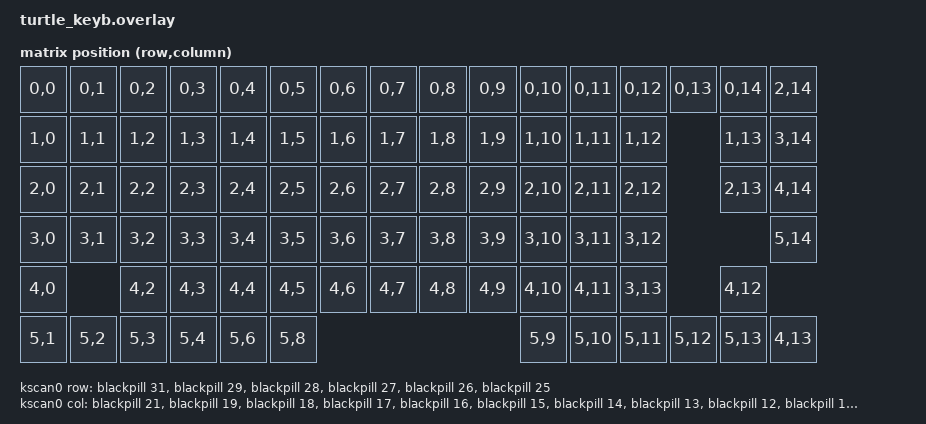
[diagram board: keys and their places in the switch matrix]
#include <dt-bindings/zmk/matrix_transform.h>
/ {
  chosen {
    zmk,kscan = &kscan0;
    zmk,matrix-transform = &default_transform;
  };

  kscan0: kscan_0 {
    compatible = "zmk,kscan-gpio-matrix";
    diode-direction = "col2row";
    wakeup-source;

    col-gpios
      = <&blackpill 21 GPIO_ACTIVE_HIGH>
      , <&blackpill 19 GPIO_ACTIVE_HIGH>
      , <&blackpill 18 GPIO_ACTIVE_HIGH>
      , <&blackpill 17 GPIO_ACTIVE_HIGH>
      , <&blackpill 16 GPIO_ACTIVE_HIGH>
      , <&blackpill 15 GPIO_ACTIVE_HIGH>
      , <&blackpill 14 GPIO_ACTIVE_HIGH>
      , <&blackpill 13 GPIO_ACTIVE_HIGH>
      , <&blackpill 12 GPIO_ACTIVE_HIGH>
      , <&blackpill 11 GPIO_ACTIVE_HIGH>
      , <&blackpill 10 GPIO_ACTIVE_HIGH>
      , <&blackpill 41 GPIO_ACTIVE_HIGH>
      , <&blackpill 4 GPIO_ACTIVE_HIGH>
      , <&blackpill 3 GPIO_ACTIVE_HIGH>
      , <&blackpill 2 GPIO_ACTIVE_HIGH>
      ;

    row-gpios
      = <&blackpill 31 (GPIO_ACTIVE_HIGH | GPIO_PULL_DOWN)>
      , <&blackpill 29 (GPIO_ACTIVE_HIGH | GPIO_PULL_DOWN)>
      , <&blackpill 28 (GPIO_ACTIVE_HIGH | GPIO_PULL_DOWN)>
      , <&blackpill 27 (GPIO_ACTIVE_HIGH | GPIO_PULL_DOWN)>
      , <&blackpill 26 (GPIO_ACTIVE_HIGH | GPIO_PULL_DOWN)>
      , <&blackpill 25 (GPIO_ACTIVE_HIGH | GPIO_PULL_DOWN)>
      ;
  };

  default_transform: keymap_transform_0 {
      compatible = "zmk,matrix-transform";
      columns = <15>;
      rows = <6>;
      map = <
        RC(0, 0) RC(0, 1) RC(0, 2) RC(0, 3) RC(0, 4) RC(0, 5) RC(0, 6) RC(0, 7) RC(0, 8) RC(0, 9) RC(0, 10) RC(0, 11) RC(0, 12) RC(0, 13) RC(0, 14)   RC(2, 14)
        RC(1, 0) RC(1, 1) RC(1, 2) RC(1, 3) RC(1, 4) RC(1, 5) RC(1, 6) RC(1, 7) RC(1, 8) RC(1, 9) RC(1, 10) RC(1, 11) RC(1, 12)       RC(1, 13)       RC(3, 14)
        RC(2, 0) RC(2, 1) RC(2, 2) RC(2, 3) RC(2, 4) RC(2, 5) RC(2, 6) RC(2, 7) RC(2, 8) RC(2, 9) RC(2, 10) RC(2, 11) RC(2, 12)           RC(2, 13)   RC(4, 14)
        RC(3, 0) RC(3, 1) RC(3, 2) RC(3, 3) RC(3, 4) RC(3, 5) RC(3, 6) RC(3, 7) RC(3, 8) RC(3, 9) RC(3, 10) RC(3, 11) RC(3, 12)                       RC(5, 14)
        RC(4, 0)          RC(4, 2) RC(4, 3) RC(4, 4) RC(4, 5) RC(4, 6) RC(4, 7) RC(4, 8) RC(4, 9) RC(4, 10) RC(4, 11) RC(3, 13)              RC(4, 12)
        RC(5, 1) RC(5, 2) RC(5, 3)     RC(5, 4)      RC(5, 6)      RC(5, 8)     RC(5, 9) RC(5, 10) RC(5, 11)                       RC(5, 12) RC(5, 13) RC(4, 13)
        >;
    };
  };
